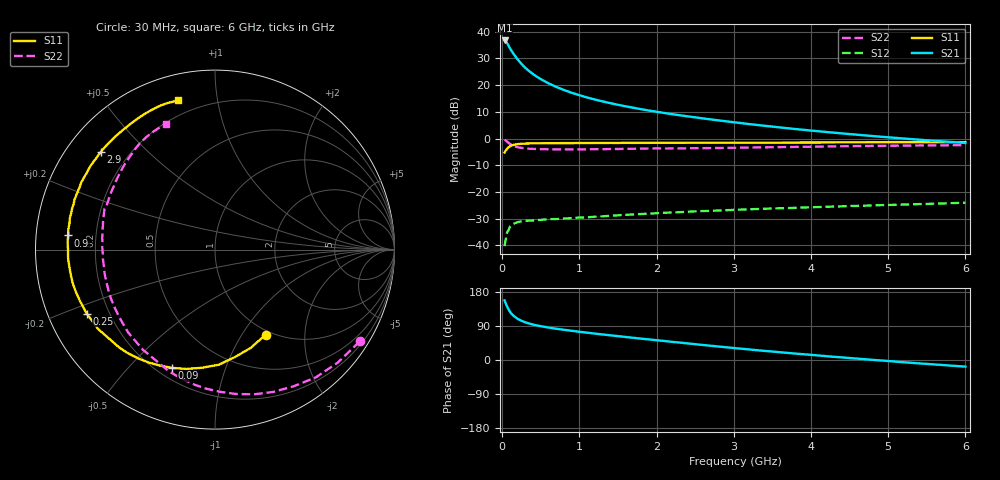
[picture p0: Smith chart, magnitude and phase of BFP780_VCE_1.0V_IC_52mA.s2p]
! Infineon Technologies  Discrete & RF Semiconductors
! BFP780
! VCE =  1.0 V,  IC =  52 mA
! Common Emitter S-Parameters:  Jul 2015
# GHz  S  MA  R  50
!  f  S11  S21  S12  S22
! GHz  MAG  ANG  MAG  ANG  MAG  ANG  MAG  ANG
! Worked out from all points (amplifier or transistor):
!   75 points, 30 MHz to 6 GHz, reference 50 ohm
!   highest |S21| = 36.7 dB at 30 MHz (marker M1)
!   |S21| within 3 dB of that: start of sweep to 101.4 MHz
!   unconditionally stable (mu >= 1): 2.012 GHz to end of sweep
!   at 150 MHz: K = 0.13, MSG = 31.7 dB, |S12| = -31.9 dB
!   at 2.3 GHz: K = 1.09, MAG = 16.3 dB, |S12| = -27.5 dB
!   at 6 GHz: K = 1.55, MAG = 6.8 dB, |S12| = -24.0 dB
!   S11 on the Smith chart (normalised r, x): 30 MHz: 0.94, -1.28; 90 MHz: 0.26, -0.67; 250 MHz: 0.12, -0.23; 900 MHz: 0.10, +0.05; 2.9 GHz: 0.10, +0.37; 6 GHz: 0.12, +0.78
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0.03  0.5519 -59.2  68.45 157.2  0.0097 68.8  0.9551 -32.4
0.04  0.5829 -70.1  66.77 151.9  0.0121 63.5  0.9296 -42.6
0.05  0.6086 -79.4  64.46 146.7  0.0143 58.6  0.9069 -51.8
0.06  0.6418 -88.1  61.58 142.2  0.0171 57.8  0.8787 -60.1
0.08  0.6838 -103.5  55.04 133.8  0.0192 48.2  0.835 -75.0
0.09  0.7012 -110.0  51.78 130.3  0.0209 45.0  0.8129 -81.7
0.11  0.7292 -120.3  46.19 124.4  0.0234 40.3  0.7772 -93.4
0.12  0.7397 -124.4  43.8 122.0  0.0241 38.1  0.7622 -98.3
0.15  0.7628 -134.3  37.7 116.0  0.0255 33.3  0.7245 -110.8
0.2  0.7871 -145.7  30.04 108.6  0.0274 26.5  0.6875 -125.8
0.25  0.7987 -153.5  24.85 103.3  0.0282 23.9  0.6687 -136.4
0.35  0.8107 -163.6  18.18 96.1  0.0293 19.6  0.6452 -150.3
0.5  0.8165 -172.4  12.9 89.2  0.0301 17.5  0.6321 -162.3
0.7  0.819 -180.0  9.234 82.4  0.0311 17.3  0.6261 -172.1
0.9  0.822 174.5  7.183 77.0  0.0325 17.3  0.6258 -178.7
1.1  0.8237 169.9  5.861 72.1  0.0336 17.7  0.6286 176.1
2.1  0.8332 151.9  3.008 50.1  0.0409 18.0  0.6511 158.5
2.9  0.8368 139.3  2.102 33.6  0.0456 15.8  0.6699 146.1
3.1  0.838 136.3  1.94 29.7  0.0469 15.2  0.6758 143.1
4.1  0.8451 122.6  1.369 11.8  0.0523 11.6  0.7074 130.8
5.1  0.8576 111.7  1.029 -4.3  0.0578 7.5  0.7358 120.5
6  0.8558 103.9  0.828 -17.5  0.0632 3.1  0.7524 111.3
